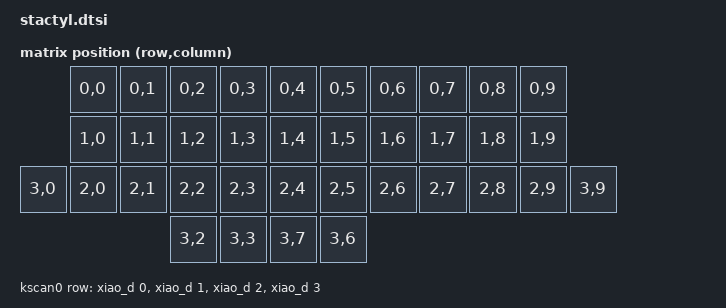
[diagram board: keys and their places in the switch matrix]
/*
 * Copyright (c) 2026 Hunter Cook (jusdisgi)
 * SPDX-License-Identifier: MIT
 *
 * stactyl: 36-key MATRIX split, one regular XIAO nRF52840 BLE per half.
 * 18 keys/half = 3x5 finger well + 1 outboard pinky + 2 thumbs.
 *
 * Reoriented 2026-06-22: was direct-pin (cloned from xiphos); now a ~5x4 matrix
 * with one SOD-323 diode per key, modeled on ../zmk-config-totem (the XIAO split
 * reference) and ../zmk-config-tbkmini (matrix). In the comb PCB the COLUMN lines
 * run up each strip (col-gpios, in the overlays) and the ROW lines cross the
 * necks (row-gpios, here). See ../stactyl/CLAUDE.md "PCB approach".
 *
 * !! PLACEHOLDER PINS / MATRIX CELLS !! stactyl's PCB isn't routed, so the
 * xiao_d row/col pins (here + in the overlays) and the exact RC() cells for the
 * outboard pinky + thumbs (row 3) are tentative. Re-derive every pin from the
 * routed board, and confirm diode-direction matches how the diodes are placed.
 * The keymap key-position ORDER (0..35) is FINAL and is preserved below so the
 * keymap ports 1:1 from the direct-pin version.
 *
 * Matrix: 5 cols (C0..C4 = pinky..inner per half) x 4 rows
 *   R0 = top, R1 = home, R2 = bottom, R3 = outboard pinky + 2 thumbs.
 * Left half = cols 0..4; right half pushed to 5..9 via col-offset (right overlay).
 */

#include <dt-bindings/zmk/matrix_transform.h>

/ {
    chosen {
        zmk,kscan = &kscan0;
        zmk,matrix_transform = &default_transform;
    };

    /*
     * Keymap position order (binding order) — UNCHANGED from the direct-pin
     * version, so config/stactyl.keymap ports 1:1:
     *
     *   0  1  2  3  4        5  6  7  8  9      <- top
     *  10 11 12 13 14       15 16 17 18 19      <- home
     *  20 21 22 23 24 25    26 27 28 29 30 31   <- bottom (20/31 = outboard pinky)
     *           32 33       34 35               <- thumbs
     */
    default_transform: keymap_transform_0 {
        compatible = "zmk,matrix-transform";
        columns = <10>;
        rows = <4>;
        map = <
            RC(0,0) RC(0,1) RC(0,2) RC(0,3) RC(0,4)    RC(0,5) RC(0,6) RC(0,7) RC(0,8) RC(0,9)
            RC(1,0) RC(1,1) RC(1,2) RC(1,3) RC(1,4)    RC(1,5) RC(1,6) RC(1,7) RC(1,8) RC(1,9)
    RC(3,0) RC(2,0) RC(2,1) RC(2,2) RC(2,3) RC(2,4)    RC(2,5) RC(2,6) RC(2,7) RC(2,8) RC(2,9) RC(3,9)
                            RC(3,2) RC(3,3)    RC(3,7) RC(3,6)
        >;
    };

    kscan0: kscan {
        compatible = "zmk,kscan-gpio-matrix";
        wakeup-source;
        diode-direction = "col2row";   /* cols driven, rows sensed; confirm vs PCB diode orientation */

        /* Rows (sensed inputs, pull-down) — same pin numbers on both halves.
         * PLACEHOLDER xiao_d pins — set from the routed PCB. */
        row-gpios
            = <&xiao_d 0 (GPIO_ACTIVE_HIGH | GPIO_PULL_DOWN)>   /* R0 top    */
            , <&xiao_d 1 (GPIO_ACTIVE_HIGH | GPIO_PULL_DOWN)>   /* R1 home   */
            , <&xiao_d 2 (GPIO_ACTIVE_HIGH | GPIO_PULL_DOWN)>   /* R2 bottom */
            , <&xiao_d 3 (GPIO_ACTIVE_HIGH | GPIO_PULL_DOWN)>   /* R3 extras (outboard pinky + thumbs) */
            ;
        /* col-gpios are per-half (mirrored) -> stactyl_left.overlay / stactyl_right.overlay */
    };
};
